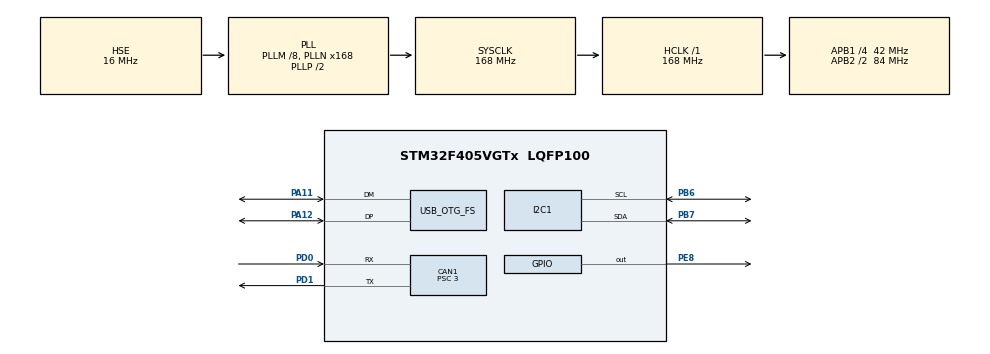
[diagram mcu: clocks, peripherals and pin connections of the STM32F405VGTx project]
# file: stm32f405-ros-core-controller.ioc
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CAN1.BS1=CAN_BS1_11TQ
CAN1.BS2=CAN_BS2_2TQ
CAN1.CalculateTimeQuantum=71.42857142857143
CAN1.Prescaler=3
FREERTOS.Tasks01=defaultTask,0,128,StartDefaultTask,Default,NULL,Dynamic,NULL,NULL;task1,0,128,StartTask02,Default,NULL,Dynamic,NULL,NULL;task2,2,128,StartTask03,Default,NULL,Dynamic,NULL,NULL;task3,0,128,StartTask04,Default,NULL,Dynamic,NULL,NULL;task4,-3,128,StartTask05,Default,NULL,Dynamic,NULL,NULL;task5,-3,128,StartTask06,Default,NULL,Dynamic,NULL,NULL
I2C1.I2C_Mode=I2C_Fast
Mcu.Family=STM32F4
Mcu.Name=STM32F405VGTx
Mcu.Package=LQFP100
NVIC.CAN1_RX0_IRQn=true\:0\:0\:false\:false\:true\:true\:true\:true
NVIC.CAN1_RX1_IRQn=true\:0\:0\:false\:false\:true\:true\:true\:true
NVIC.I2C1_EV_IRQn=true\:0\:0\:false\:false\:true\:true\:true\:true
NVIC.OTG_FS_IRQn=true\:0\:0\:false\:false\:true\:true\:true\:true
NVIC.PriorityGroup=NVIC_PRIORITYGROUP_4
NVIC.RCC_IRQn=true\:0\:0\:false\:false\:true\:true\:true\:false
NVIC.TIM3_IRQn=true\:0\:0\:false\:false\:true\:false\:false\:true
NVIC.TimeBase=TIM3_IRQn
NVIC.TimeBaseIP=TIM3
PA11.Mode=Device_Only
PA11.Signal=USB_OTG_FS_DM
PA12.Mode=Device_Only
PA12.Signal=USB_OTG_FS_DP
PA13.Mode=Trace_Asynchronous_SW
PA13.Signal=SYS_JTMS-SWDIO
PA14.Mode=Trace_Asynchronous_SW
PA14.Signal=SYS_JTCK-SWCLK
PB3.Mode=Trace_Asynchronous_SW
PB3.Signal=SYS_JTDO-SWO
PB6.Mode=I2C
PB6.Signal=I2C1_SCL
PB7.Mode=I2C
PB7.Signal=I2C1_SDA
PD0.Mode=Master
PD0.Signal=CAN1_RX
PD1.Mode=Master
PD1.Signal=CAN1_TX
PE8.Signal=GPIO_Output
PH0-OSC_IN.Mode=HSE-External-Oscillator
PH0-OSC_IN.Signal=RCC_OSC_IN
PH1-OSC_OUT.Mode=HSE-External-Oscillator
PH1-OSC_OUT.Signal=RCC_OSC_OUT
ProjectManager.HeapSize=0x200
ProjectManager.StackSize=0x400
ProjectManager.TargetToolchain=STM32CubeIDE
RCC.48MHZClocksFreq_Value=48000000
RCC.AHBFreq_Value=168000000
RCC.APB1CLKDivider=RCC_HCLK_DIV4
RCC.APB1Freq_Value=42000000
RCC.APB1TimFreq_Value=84000000
RCC.APB2CLKDivider=RCC_HCLK_DIV2
RCC.APB2Freq_Value=84000000
RCC.APB2TimFreq_Value=168000000
RCC.CortexFreq_Value=168000000
RCC.HCLKFreq_Value=168000000
RCC.HSE_VALUE=16000000
RCC.HSI_VALUE=16000000
RCC.LSE_VALUE=32768
RCC.PLLM=8
RCC.PLLN=168
RCC.PLLQ=7
RCC.SYSCLKFreq_VALUE=168000000
RCC.SYSCLKSource=RCC_SYSCLKSOURCE_PLLCLK
RCC.VCOOutputFreq_Value=336000000
USB_DEVICE.APP_RX_DATA_SIZE-CDC_FS=2048
USB_DEVICE.CLASS_NAME_FS=CDC
USB_DEVICE.VirtualMode-CDC_FS=Cdc
USB_DEVICE.VirtualModeFS=Cdc_FS
USB_OTG_FS.VirtualMode=Device_Only
VP_FREERTOS_VS_CMSIS_V1.Mode=CMSIS_V1
VP_SYS_VS_tim3.Mode=TIM3
VP_USB_DEVICE_VS_USB_DEVICE_CDC_FS.Mode=CDC_FS
board=custom

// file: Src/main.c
/* USER CODE BEGIN Header */
/**
  ******************************************************************************
  * @file           : main.c
  * @brief          : Main program body
  ******************************************************************************
  * @attention
  *
  * <h2><center>&copy; Copyright (c) 2020 STMicroelectronics.
  * All rights reserved.</center></h2>
  *
  * This software component is licensed by ST under Ultimate Liberty license
  * SLA0044, the "License"; You may not use this file except in compliance with
  * the License. You may obtain a copy of the License at:
  *                             www.st.com/SLA0044
  *
  ******************************************************************************
  */
/* USER CODE END Header */
#include "main.h"
#include "cmsis_os.h"
#include "usb_device.h"

/* USER CODE BEGIN Includes */
uint8_t usbRxData[APP_RX_DATA_SIZE] ;

//The number should be the same as APP_RX_DATA_SIZE
#include "nbt.h"
#include <math.h>
#include "cpp_main.h"
#include "ringbuffer.h"
#include "mpu9250_usr.h"
#include <stdbool.h>

/* USER CODE END Includes */

CAN_HandleTypeDef hcan1;

I2C_HandleTypeDef hi2c1;

osThreadId defaultTaskHandle;
osThreadId task1Handle;
osThreadId task2Handle;
osThreadId task3Handle;
osThreadId task4Handle;
osThreadId task5Handle;
/* USER CODE BEGIN PV */
CAN_TxHeaderTypeDef rightFront_wheelHeader;
CAN_TxHeaderTypeDef leftFront_wheelHeader;
CAN_TxHeaderTypeDef rightBack_wheelHeader;
CAN_TxHeaderTypeDef leftBack_wheelHeader;
CAN_FilterTypeDef sFilterConfig;

CAN_RxHeaderTypeDef wheel_RxHeader;

uint32_t imucount;

uint32_t TxMailbox;
uint8_t state_can = 0;
uint32_t leftCount, rightCount;
uint8_t ctrl = 0x00;
int16_t allData[6];

volatile uint32_t sysTick_Time;

uint8_t hall_speed;
uint16_t hall_tick;
uint8_t tick;

int8_t speedDataRightFrontWheel = 0;
int8_t speedDataLeftFrontWheel = 0;
int8_t speedDataRightBackWheel = 0;
int8_t speedDataLeftBackWheel = 0;

int8_t sideDataRightFrontWheel = 0;
int8_t sideDataLeftFrontWheel = 0;
int8_t sideDataRightBackWheel = 0;
int8_t sideDataLeftBackWheel = 0;

uint8_t sensorData1 = 0;
uint8_t sensorData2 = 0;
uint8_t sensorData3 = 0;
uint8_t sensorData4 = 0;
uint8_t sensorData5 = 0;
uint8_t sensorData6 = 0;
uint8_t sensorData7 = 0;
uint8_t sensorData8 = 0;
uint8_t sensorData9 = 0;
uint8_t sensorData10 = 0;
uint8_t sensorData11 = 0;
uint8_t sensorData12 = 0;
uint8_t sensorData13 = 0;
uint8_t sensorData14 = 0;
uint8_t sensorData15 = 0;
uint8_t sensorData16 = 0;

uint8_t laser_sensor_data[16] = {0};

uint8_t speedRXDataRightFrontWheel;
uint8_t sideRXDataRightFrontWheel;
uint8_t speedRXDataRightBackWheel;
uint8_t sideRXDataRightBackWheel;
uint8_t speedRXDataLeftFrontWheel;
uint8_t sideRXDataLeftFrontWheel;
uint8_t speedRXDataLeftBackWheel;
uint8_t sideRXDataLeftBackWheel;

uint8_t canRXData[8];

float gyroX;
float gyroY;
float gyroZ;
float accelX;
float accelY;
float accelZ;
float gyroX_filtered;
float gyroY_filtered;
float gyroZ_filtered;

uint8_t r_front_wheel_data[2] = {0,0};
uint8_t l_front_wheel_data[2] = {0,0};
uint8_t r_back_wheel_data[2] = {0,0};
uint8_t l_back_wheel_data[2] = {0,0};

uint8_t r[2];
uint8_t side = 0;
uint8_t pwm = 0;
int32_t gyro_bias[3]  = {0, 0, 0}, accel_bias[3] = {0, 0, 0};
int32_t accel_bias_reg[3] = {0, 0, 0};
uint32_t f, laser1, laser2, imu, wheels;
uint32_t can2;
uint8_t nh_connected = 0;

/* USER CODE END PV */

void SystemClock_Config(void);
static void MX_GPIO_Init(void);
static void MX_CAN1_Init(void);
static void MX_I2C1_Init(void);
void StartDefaultTask(void const * argument);
void StartTask02(void const * argument);
void StartTask03(void const * argument);
void StartTask04(void const * argument);
void StartTask05(void const * argument);
void StartTask06(void const * argument);

/* USER CODE BEGIN PFP */
void rpm_left_front_handler(void);
void rpm_left_back_handler(void);
void rpm_right_front_handler(void);
void rpm_right_back_handler(void);

void laser_sensor_handler_1(void);
void laser_sensor_handler_2(void);
void laser_sensor_handler_3(void);
void laser_sensor_handler_4(void);
void laser_sensor_handler_5(void);
void laser_sensor_handler_6(void);
void laser_sensor_handler_7(void);
void laser_sensor_handler_8(void);
void laser_sensor_handler_9(void);
void laser_sensor_handler_10(void);
void laser_sensor_handler_11(void);
void laser_sensor_handler_12(void);
void laser_sensor_handler_13(void);
void laser_sensor_handler_14(void);
void laser_sensor_handler_15(void);
void laser_sensor_handler_16(void);

void state_data_handler(void);

void laser_sensors_data_handler(void);

void accel_handler(void);
void gyro_handler(void);

void spinOnce(void);
void init_ROS(void);
/* USER CODE END PFP */

int main(void)
{

  /* MCU Configuration--------------------------------------------------------*/

  /* Reset of all peripherals, Initializes the Flash interface and the Systick. */
  HAL_Init();

  /* Configure the system clock */
  SystemClock_Config();

  /* Initialize all configured peripherals */
  MX_GPIO_Init();
  MX_CAN1_Init();
  MX_I2C1_Init();
  /* USER CODE BEGIN 2 */
  MPU9250_calibrate();
  HAL_Delay(2000);
  MPU9250_init();
  HAL_Delay(500);
  init_ROS();
  HAL_Delay(500);

  rightFront_wheelHeader.DLC = 2;
  rightFront_wheelHeader.IDE = CAN_ID_STD;
  rightFront_wheelHeader.RTR = CAN_RTR_DATA;
  rightFront_wheelHeader.StdId = 0x3F;

  leftFront_wheelHeader.DLC = 2;
  leftFront_wheelHeader.IDE = CAN_ID_STD;
  leftFront_wheelHeader.RTR = CAN_RTR_DATA;
  leftFront_wheelHeader.StdId = 0xF;

  leftBack_wheelHeader.DLC = 2;
  leftBack_wheelHeader.IDE = CAN_ID_STD;
  leftBack_wheelHeader.RTR = CAN_RTR_DATA;
  leftBack_wheelHeader.StdId = 0x1F;

  rightBack_wheelHeader.DLC = 2;
  rightBack_wheelHeader.IDE = CAN_ID_STD;
  rightBack_wheelHeader.RTR = CAN_RTR_DATA;
  rightBack_wheelHeader.StdId = 0x2F;

  sFilterConfig.FilterFIFOAssignment = CAN_FILTER_FIFO0;
  sFilterConfig.FilterIdHigh = 0;
  sFilterConfig.FilterIdLow = 0;
  sFilterConfig.FilterMaskIdHigh = 0;
  sFilterConfig.FilterMaskIdLow = 0;
  sFilterConfig.FilterScale = CAN_FILTERSCALE_32BIT;
  //sFilterConfig.FilterMode = CAN_FILTERMODE_IDLIST;
  sFilterConfig.FilterActivation = ENABLE;
  HAL_CAN_ConfigFilter(&hcan1, &sFilterConfig);

  HAL_CAN_Start(&hcan1);
  HAL_CAN_ActivateNotification(&hcan1, CAN_IT_RX_FIFO0_MSG_PENDING);
  /* USER CODE END 2 */

  /* Create the thread(s) */
  /* definition and creation of defaultTask */
  osThreadDef(defaultTask, StartDefaultTask, osPriorityNormal, 0, 128);
  defaultTaskHandle = osThreadCreate(osThread(defaultTask), NULL);

  /* definition and creation of task1 */
  osThreadDef(task1, StartTask02, osPriorityNormal, 0, 128);
  task1Handle = osThreadCreate(osThread(task1), NULL);

  /* definition and creation of task2 */
  osThreadDef(task2, StartTask03, osPriorityHigh, 0, 128);
  task2Handle = osThreadCreate(osThread(task2), NULL);

  /* definition and creation of task3 */
  osThreadDef(task3, StartTask04, osPriorityNormal, 0, 128);
  task3Handle = osThreadCreate(osThread(task3), NULL);

  /* definition and creation of task4 */
  osThreadDef(task4, StartTask05, osPriorityIdle, 0, 128);
  task4Handle = osThreadCreate(osThread(task4), NULL);

  /* definition and creation of task5 */
  osThreadDef(task5, StartTask06, osPriorityIdle, 0, 128);
  task5Handle = osThreadCreate(osThread(task5), NULL);

  /* Start scheduler */
  osKernelStart();

  /* We should never get here as control is now taken by the scheduler */
  /* Infinite loop */
  while (1)
  {

  }
}

void SystemClock_Config(void)
{
  RCC_OscInitTypeDef RCC_OscInitStruct = {0};
  RCC_ClkInitTypeDef RCC_ClkInitStruct = {0};

  /** Configure the main internal regulator output voltage
  */
  __HAL_RCC_PWR_CLK_ENABLE();
  __HAL_PWR_VOLTAGESCALING_CONFIG(PWR_REGULATOR_VOLTAGE_SCALE1);
  /** Initializes the RCC Oscillators according to the specified parameters
  * in the RCC_OscInitTypeDef structure.
  */
  RCC_OscInitStruct.OscillatorType = RCC_OSCILLATORTYPE_HSE;
  RCC_OscInitStruct.HSEState = RCC_HSE_ON;
  RCC_OscInitStruct.PLL.PLLState = RCC_PLL_ON;
  RCC_OscInitStruct.PLL.PLLSource = RCC_PLLSOURCE_HSE;
  RCC_OscInitStruct.PLL.PLLM = 8;
  RCC_OscInitStruct.PLL.PLLN = 168;
  RCC_OscInitStruct.PLL.PLLP = RCC_PLLP_DIV2;
  RCC_OscInitStruct.PLL.PLLQ = 7;
  if (HAL_RCC_OscConfig(&RCC_OscInitStruct) != HAL_OK)
  {
    Error_Handler();
  }
  /** Initializes the CPU, AHB and APB buses clocks
  */
  RCC_ClkInitStruct.ClockType = RCC_CLOCKTYPE_HCLK|RCC_CLOCKTYPE_SYSCLK
                              |RCC_CLOCKTYPE_PCLK1|RCC_CLOCKTYPE_PCLK2;
  RCC_ClkInitStruct.SYSCLKSource = RCC_SYSCLKSOURCE_PLLCLK;
  RCC_ClkInitStruct.AHBCLKDivider = RCC_SYSCLK_DIV1;
  RCC_ClkInitStruct.APB1CLKDivider = RCC_HCLK_DIV4;
  RCC_ClkInitStruct.APB2CLKDivider = RCC_HCLK_DIV2;

  if (HAL_RCC_ClockConfig(&RCC_ClkInitStruct, FLASH_LATENCY_5) != HAL_OK)
  {
    Error_Handler();
  }
}

static void MX_CAN1_Init(void)
{

  hcan1.Instance = CAN1;
  hcan1.Init.Prescaler = 3;
  hcan1.Init.Mode = CAN_MODE_NORMAL;
  hcan1.Init.SyncJumpWidth = CAN_SJW_1TQ;
  hcan1.Init.TimeSeg1 = CAN_BS1_11TQ;
  hcan1.Init.TimeSeg2 = CAN_BS2_2TQ;
  hcan1.Init.TimeTriggeredMode = DISABLE;
  hcan1.Init.AutoBusOff = DISABLE;
  hcan1.Init.AutoWakeUp = DISABLE;
  hcan1.Init.AutoRetransmission = DISABLE;
  hcan1.Init.ReceiveFifoLocked = DISABLE;
  hcan1.Init.TransmitFifoPriority = DISABLE;
  if (HAL_CAN_Init(&hcan1) != HAL_OK)
  {
    Error_Handler();
  }

}

static void MX_I2C1_Init(void)
{

  hi2c1.Instance = I2C1;
  hi2c1.Init.ClockSpeed = 400000;
  hi2c1.Init.DutyCycle = I2C_DUTYCYCLE_2;
  hi2c1.Init.OwnAddress1 = 0;
  hi2c1.Init.AddressingMode = I2C_ADDRESSINGMODE_7BIT;
  hi2c1.Init.DualAddressMode = I2C_DUALADDRESS_DISABLE;
  hi2c1.Init.OwnAddress2 = 0;
  hi2c1.Init.GeneralCallMode = I2C_GENERALCALL_DISABLE;
  hi2c1.Init.NoStretchMode = I2C_NOSTRETCH_DISABLE;
  if (HAL_I2C_Init(&hi2c1) != HAL_OK)
  {
    Error_Handler();
  }

}

static void MX_GPIO_Init(void)
{
  GPIO_InitTypeDef GPIO_InitStruct = {0};

  /* GPIO Ports Clock Enable */
  __HAL_RCC_GPIOH_CLK_ENABLE();
  __HAL_RCC_GPIOE_CLK_ENABLE();
  __HAL_RCC_GPIOA_CLK_ENABLE();
  __HAL_RCC_GPIOD_CLK_ENABLE();
  __HAL_RCC_GPIOB_CLK_ENABLE();

  /*Configure GPIO pin Output Level */
  HAL_GPIO_WritePin(GPIOE, GPIO_PIN_8, GPIO_PIN_RESET);

  /*Configure GPIO pin : PE8 */
  GPIO_InitStruct.Pin = GPIO_PIN_8;
  GPIO_InitStruct.Mode = GPIO_MODE_OUTPUT_PP;
  GPIO_InitStruct.Pull = GPIO_NOPULL;
  GPIO_InitStruct.Speed = GPIO_SPEED_FREQ_LOW;
  HAL_GPIO_Init(GPIOE, &GPIO_InitStruct);

}

/* USER CODE BEGIN 4 */
void HAL_CAN_RxFifo0MsgPendingCallback(CAN_HandleTypeDef *hcan) {

	HAL_CAN_GetRxMessage(&hcan1, CAN_RX_FIFO0, &wheel_RxHeader, canRXData);

	if (wheel_RxHeader.StdId == 0xA) {
		speedRXDataLeftFrontWheel = canRXData[0];
		sideRXDataLeftFrontWheel = canRXData[1];
	}
	else if (wheel_RxHeader.StdId == 0x3A) {
		speedRXDataRightFrontWheel = canRXData[0];
		sideRXDataRightFrontWheel = canRXData[1];
	}
	else if (wheel_RxHeader.StdId == 0x2A) {
		speedRXDataRightBackWheel = canRXData[0];
		sideRXDataRightBackWheel = canRXData[1];

	}
	else if (wheel_RxHeader.StdId == 0x1A) {
		speedRXDataLeftBackWheel = canRXData[0];
		sideRXDataLeftBackWheel = canRXData[1];
	}
	if (wheel_RxHeader.StdId == 0x1D) {
		laser_sensor_data[0] = canRXData[0];
	}
	else if (wheel_RxHeader.StdId == 0x2D) {
		laser_sensor_data[1] = canRXData[0];
	}
	else if (wheel_RxHeader.StdId == 0x3D) {
		laser_sensor_data[2] = canRXData[0];
	}
	else if (wheel_RxHeader.StdId == 0x4D) {
		laser_sensor_data[3] = canRXData[0];
	}
	else if (wheel_RxHeader.StdId == 0x5D) {
		laser_sensor_data[4] = canRXData[0];
	}
	else if (wheel_RxHeader.StdId == 0x6D) {
		laser_sensor_data[5] = canRXData[0];
	}
	else if (wheel_RxHeader.StdId == 0x7D) {
		laser_sensor_data[6] = canRXData[0];
	}
	else if (wheel_RxHeader.StdId == 0x8D) {
		laser_sensor_data[7] = canRXData[0];
	}
	else if (wheel_RxHeader.StdId == 0x9D) {
		laser_sensor_data[8] = canRXData[0];
	}
	else if (wheel_RxHeader.StdId == 0xAD) {
		laser_sensor_data[9] = canRXData[0];
	}
	else if (wheel_RxHeader.StdId == 0xBD) {
		laser_sensor_data[10] = canRXData[0];
	}
	else if (wheel_RxHeader.StdId == 0xCD) {
		laser_sensor_data[11] = canRXData[0];
	}
	else if (wheel_RxHeader.StdId == 0xDD) {
		laser_sensor_data[12] = canRXData[0];
	}
	else if (wheel_RxHeader.StdId == 0xED) {
		laser_sensor_data[13] = canRXData[0];
	}
	else if (wheel_RxHeader.StdId == 0xFD) {
		laser_sensor_data[14] = canRXData[0];
	}
	else if (wheel_RxHeader.StdId == 0x10D) {
		laser_sensor_data[15] = canRXData[0];
	}
	wheel_RxHeader.StdId = 0x0000;

}
/* USER CODE END 4 */

void StartDefaultTask(void const * argument)
{
  /* init code for USB_DEVICE */
  MX_USB_DEVICE_Init();
  /* USER CODE BEGIN 5 */
  /* Infinite loop */
  for(;;)
  {
	  gyro_handler();
	  osDelay(4);
	  accel_handler();
	  osDelay(4);
  }
  /* USER CODE END 5 */
}

void StartTask02(void const * argument)
{
  /* USER CODE BEGIN StartTask02 */
  /* Infinite loop */
  for(;;)
  {
	  MPU9250_getAllData(allData);
	  osDelay(10);
	  imucount++;
  }
  /* USER CODE END StartTask02 */
}

void StartTask03(void const * argument)
{
  /* USER CODE BEGIN StartTask03 */
  /* Infinite loop */
  for(;;)
  {
	  l_front_wheel_data[0] = sideDataLeftFrontWheel;
	  l_front_wheel_data[1] = speedDataLeftFrontWheel;
	  l_back_wheel_data[0] = sideDataLeftBackWheel;
	  l_back_wheel_data[1] = speedDataLeftBackWheel;
	  r_back_wheel_data[0] = sideDataRightBackWheel;
	  r_back_wheel_data[1] = speedDataRightBackWheel;
	  r_front_wheel_data[0] = sideDataRightFrontWheel;
	  r_front_wheel_data[1] = speedDataRightFrontWheel;
//	  l_front_wheel_data[0] = 0;
//	  l_front_wheel_data[1] = 55;
//	  l_back_wheel_data[0] = 0;
//	  l_back_wheel_data[1] = 55;
//	  r_back_wheel_data[0] = 1;
//	  r_back_wheel_data[1] = 55;
//	  r_front_wheel_data[0] = 1;
//	  r_front_wheel_data[1] = 55;
	  HAL_CAN_AddTxMessage(&hcan1, &leftFront_wheelHeader, l_front_wheel_data, &TxMailbox);
	  osDelay(1);
	  HAL_CAN_AddTxMessage(&hcan1, &rightBack_wheelHeader, r_back_wheel_data, &TxMailbox);
	  osDelay(1);
	  HAL_CAN_AddTxMessage(&hcan1, &leftBack_wheelHeader, l_back_wheel_data, &TxMailbox);
      osDelay(1);
	  HAL_CAN_AddTxMessage(&hcan1, &rightFront_wheelHeader, r_front_wheel_data, &TxMailbox);
	  osDelay(1);
	  rpm_left_front_handler();
	  osDelay(1);
	  rpm_left_back_handler();
	  osDelay(1);
	  rpm_right_front_handler();
	  osDelay(1);
	  rpm_right_back_handler();
	  osDelay(1);
  }
  /* USER CODE END StartTask03 */
}

void StartTask04(void const * argument)
{
  /* USER CODE BEGIN StartTask04 */
  /* Infinite loop */
  for(;;)
  {
	  laser_sensors_data_handler();
	  osDelay(50);
  }
  /* USER CODE END StartTask04 */
}

void StartTask05(void const * argument)
{
  /* USER CODE BEGIN StartTask05 */
  /* Infinite loop */
  for(;;)
  {
	  spinOnce();
	  osDelay(10);
  }
  /* USER CODE END StartTask05 */
}

void StartTask06(void const * argument)
{
  /* USER CODE BEGIN StartTask06 */
  /* Infinite loop */
  for(;;)
  {
	  osDelay(10);
  }
  /* USER CODE END StartTask06 */
}

void HAL_TIM_PeriodElapsedCallback(TIM_HandleTypeDef *htim)
{
  if (htim->Instance == TIM3) {
    HAL_IncTick();
    sysTick_Time++;
  }
}

void Error_Handler(void)
{
}

/************************ (C) COPYRIGHT STMicroelectronics *****END OF FILE****/
